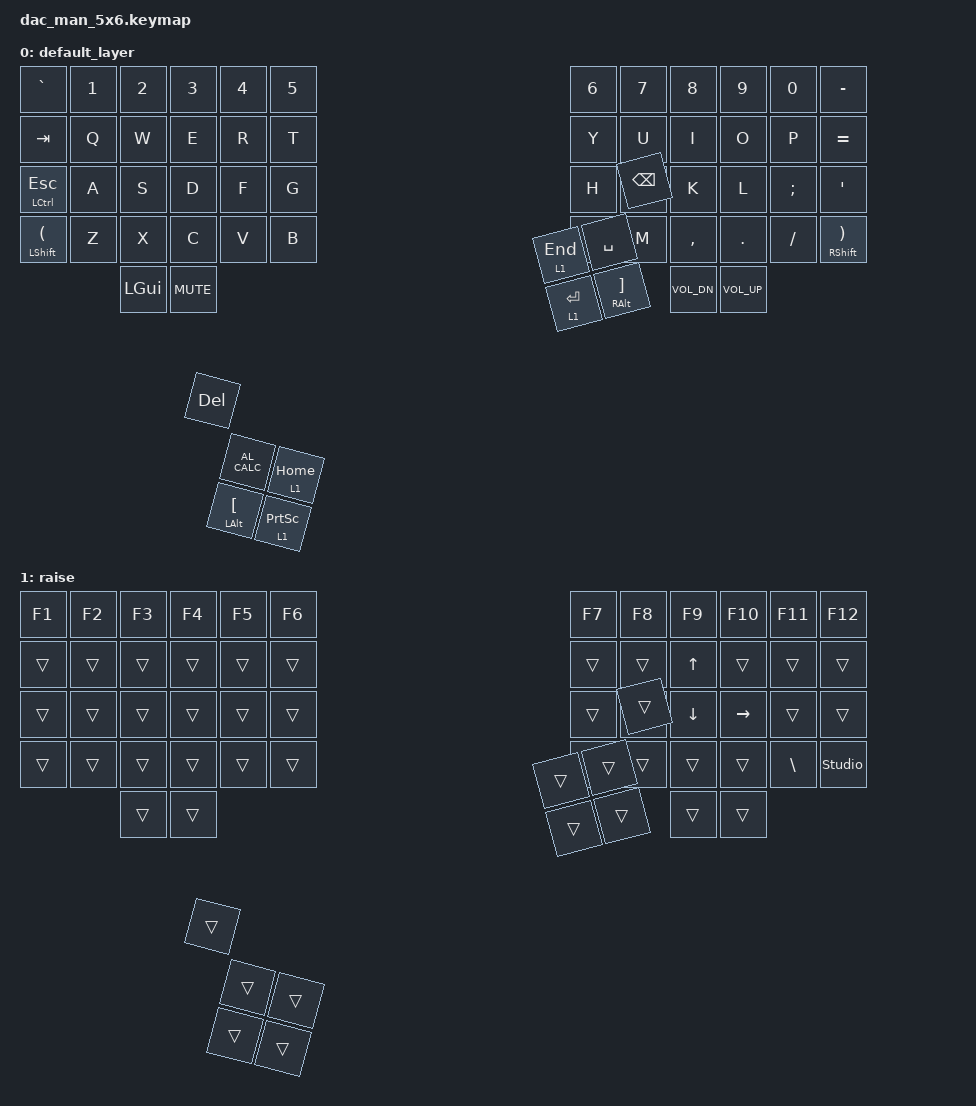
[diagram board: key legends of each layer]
#include <behaviors.dtsi>
#include <dt-bindings/zmk/bt.h>
#include <dt-bindings/zmk/keys.h>

#define DEFAULT 0
#define RAISE   1

/ {
    keymap {
        compatible = "zmk,keymap";

        default_layer {
            // Commented layout is not actual layout.
            // -------------------------------------------------------------------------------------------------------------------------
            // |   ESC   |    1    |    2    |    3    |    4    |    5    |                   |    6    |    7    |    8    |    9    |    0    |  BSPC   |
            // |   TAB   |    Q    |    W    |    E    |    R    |    T    |                   |    Y    |    U    |    I    |    O    |    P    |    \    |
            // |  LALT   |    A    |    S    |    D    |    F    |    G    |                   |    H    |    J    |    K    |    L    |    ;    |    '    |
            // |  LCTRL  |    Z    |    X    |    C    |    V    |    B    |                   |    N    |    M    |    ,    |    .    |    /    |  RALT   |
            //                     |    [    |    ]    |                                                           |    -    |    =    |
            //                               | MO lay 1| SPACE   |                   | ENTER   | MO lay 2|
            //                                         |   TAB   |   HOME  |   END   |   DEL   |
            //                                         |  Raise  |    ~    |   GUI   |  Lower  |

            bindings = <
&kp GRAVE          &kp N1  &kp N2    &kp N3             &kp N4  &kp N5                                &kp N6    &kp N7     &kp N8     &kp N9     &kp N0         &kp MINUS
&kp TAB          &kp Q   &kp W     &kp E              &kp R   &kp T                                 &kp Y     &kp U      &kp I      &kp O      &kp P          &kp EQUAL
&mt LCTRL ESC    &kp A   &kp S     &kp D              &kp F   &kp G                                 &kp H     &kp J      &kp K      &kp L      &kp SEMI       &kp SQT
&mt LSHIFT LPAR  &kp Z   &kp X     &kp C              &kp V   &kp B                                 &kp N     &kp M      &kp COMMA  &kp DOT    &kp FSLH       &mt RSHIFT RPAR
                   &kp LEFT_GUI  &kp C_MUTE                                                             &kp C_VOL_DN  &kp C_VOLUME_UP
                                                &kp DELETE                                                &kp BACKSPACE
                                                        &kp C_AL_CALC   &lt 1 HOME       &lt 1 END       &kp SPACE
                                                        &mt LALT LBKT   &lt 1 PSCRN      &lt 1 ENTER   &mt RALT RBKT
            >;
        };

        raise {
            // commented layout is not actual layout.
            // -------------------------------------------------------------------------------------------------------------------------
            // |   esc   |    1    |    2    |    3    |    4    |    5    |                   |    6    |    7    |    8    |    9    |    0    |  bspc   |
            // |   tab   |    q    |    w    |    e    |    r    |    t    |                   |    y    |    u    |    i    |    o    |    p    |    \    |
            // |  lalt   |    a    |    s    |    d    |    f    |    g    |                   |    h    |    j    |    k    |    l    |    ;    |    '    |
            // |  lctrl  |    z    |    x    |    c    |    v    |    b    |                   |    n    |    m    |    ,    |    .    |    /    |  ralt   |
            //                     |    [    |    ]    |                                                           |    -    |    =    |
            //                               | mo lay 1| space   |                   | enter   | mo lay 2|
            //                                         |   tab   |   home  |   end   |   del   |
            //                                         |  raise  |    ~    |   gui   |  lower  |

            bindings = <
&kp F1  &kp F2          &kp F3     &kp F4        &kp F5          &kp F6                  &kp F7  &kp F8    &kp F9    &kp F10    &kp F11   &kp F12
&trans  &trans          &trans     &trans        &trans          &trans                  &trans  &trans    &kp UP    &trans     &trans    &trans
&trans  &trans          &trans     &trans        &trans          &trans                  &trans  &kp LEFT  &kp DOWN  &kp RIGHT  &trans    &trans
&trans  &trans          &trans     &trans        &trans          &trans                  &trans  &trans    &trans    &trans     &kp BSLH  &studio_unlock
                        &trans     &trans                                                                          &trans  &trans
                                                 &trans                                                    &trans
                                                                 &trans  &trans  &trans  &trans
                                                                 &trans  &trans  &trans  &trans
            >;
        };
    };
};
